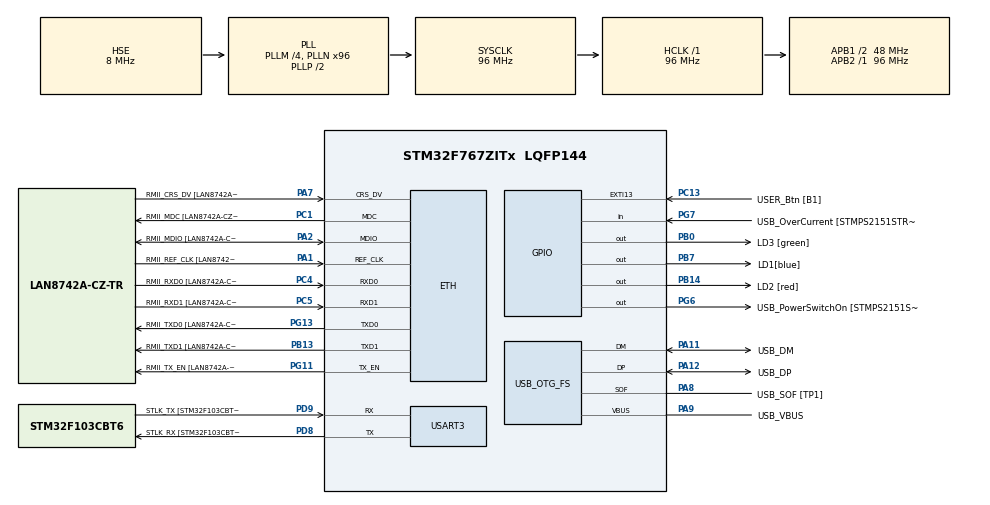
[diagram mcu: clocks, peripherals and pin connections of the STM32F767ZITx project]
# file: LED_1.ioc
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ETH.MediaInterface=ETH_MEDIA_INTERFACE_RMII
ETH.PHY_Name=LAN8742A_PHY_ADDRESS
ETH.PHY_Value=0
ETH.PhyAddress=0
LWIP.LWIP_HTTPD=1
LWIP.LWIP_HTTPD_CGI=1
LWIP.LWIP_HTTPD_MAX_TAG_NAME_LEN=16
LWIP.Version=v2.1.2_Cube
Mcu.Family=STM32F7
Mcu.Name=STM32F767ZITx
Mcu.Package=LQFP144
NVIC.PriorityGroup=NVIC_PRIORITYGROUP_4
PA1.GPIO_Label=RMII_REF_CLK [LAN8742A-CZ-TR_REFCLK0]
PA1.Mode=RMII
PA1.Signal=ETH_REF_CLK
PA10.GPIO_Label=USB_ID
PA10.Signal=USB_OTG_FS_ID
PA11.GPIO_Label=USB_DM
PA11.Mode=Device_Only
PA11.Signal=USB_OTG_FS_DM
PA12.GPIO_Label=USB_DP
PA12.Mode=Device_Only
PA12.Signal=USB_OTG_FS_DP
PA13.GPIO_Label=TMS
PA13.Mode=Serial_Wire
PA13.Signal=SYS_JTMS-SWDIO
PA14.GPIO_Label=TCK
PA14.Mode=Serial_Wire
PA14.Signal=SYS_JTCK-SWCLK
PA2.GPIO_Label=RMII_MDIO [LAN8742A-CZ-TR_MDIO]
PA2.Mode=RMII
PA2.Signal=ETH_MDIO
PA7.GPIO_Label=RMII_CRS_DV [LAN8742A-CZ-TR_CRS_DV]
PA7.Mode=RMII
PA7.Signal=ETH_CRS_DV
PA8.GPIO_Label=USB_SOF [TP1]
PA8.Mode=Activate_SOF_FS
PA8.Signal=USB_OTG_FS_SOF
PA9.GPIO_Label=USB_VBUS
PA9.Mode=Activate_VBUS
PA9.Signal=USB_OTG_FS_VBUS
PB0.GPIO_Label=LD3 [green]
PB0.GPIO_PuPd=GPIO_PULLUP
PB0.Signal=GPIO_Output
PB13.GPIO_Label=RMII_TXD1 [LAN8742A-CZ-TR_TXD1]
PB13.Mode=RMII
PB13.Signal=ETH_TXD1
PB14.GPIO_Label=LD2 [red]
PB14.GPIO_PuPd=GPIO_PULLUP
PB14.Signal=GPIO_Output
PB3.GPIO_Label=SWO
PB3.Signal=SYS_JTDO-SWO
PB7.GPIO_Label=LD1[blue]
PB7.GPIO_PuPd=GPIO_PULLUP
PB7.Signal=GPIO_Output
PC1.GPIO_Label=RMII_MDC [LAN8742A-CZ-TR_MDC]
PC1.Mode=RMII
PC1.Signal=ETH_MDC
PC13.GPIO_Label=USER_Btn [B1]
PC13.Signal=GPXTI13
PC14/OSC32_IN.Signal=RCC_OSC32_IN
PC15/OSC32_OUT.Signal=RCC_OSC32_OUT
PC4.GPIO_Label=RMII_RXD0 [LAN8742A-CZ-TR_RXD0]
PC4.Mode=RMII
PC4.Signal=ETH_RXD0
PC5.GPIO_Label=RMII_RXD1 [LAN8742A-CZ-TR_RXD1]
PC5.Mode=RMII
PC5.Signal=ETH_RXD1
PD8.GPIO_Label=STLK_RX [STM32F103CBT6_PA3]
PD8.Mode=Asynchronous
PD8.Signal=USART3_TX
PD9.GPIO_Label=STLK_TX [STM32F103CBT6_PA2]
PD9.Mode=Asynchronous
PD9.Signal=USART3_RX
PG11.GPIO_Label=RMII_TX_EN [LAN8742A-CZ-TR_TXEN]
PG11.Mode=RMII
PG11.Signal=ETH_TX_EN
PG13.GPIO_Label=RMII_TXD0 [LAN8742A-CZ-TR_TXD0]
PG13.Mode=RMII
PG13.Signal=ETH_TXD0
PG6.GPIO_Label=USB_PowerSwitchOn [STMPS2151STR_EN]
PG6.Signal=GPIO_Output
PG7.GPIO_Label=USB_OverCurrent [STMPS2151STR_FAULT]
PG7.Signal=GPIO_Input
PH0/OSC_IN.GPIO_Label=MCO [STM32F103CBT6_PA8]
PH0/OSC_IN.Mode=HSE-External-Oscillator
PH0/OSC_IN.Signal=RCC_OSC_IN
PH1/OSC_OUT.Mode=HSE-External-Oscillator
PH1/OSC_OUT.Signal=RCC_OSC_OUT
ProjectManager.HeapSize=0x200
ProjectManager.StackSize=0x400
ProjectManager.TargetToolchain=STM32CubeIDE
RCC.48MHZClocksFreq_Value=24000000
RCC.AHBFreq_Value=96000000
RCC.APB1CLKDivider=RCC_HCLK_DIV2
RCC.APB1Freq_Value=48000000
RCC.APB1TimFreq_Value=96000000
RCC.APB2Freq_Value=96000000
RCC.APB2TimFreq_Value=96000000
RCC.CortexFreq_Value=96000000
RCC.HCLKFreq_Value=96000000
RCC.HSE_VALUE=8000000
RCC.HSI_VALUE=16000000
RCC.PLLM=4
RCC.PLLMUL=RCC_PLL_MUL9
RCC.PLLN=96
RCC.PLLQ=4
RCC.PRESCALERUSB=RCC_USBCLKSOURCE_PLL_DIV1_5
RCC.SYSCLKFreq_VALUE=96000000
RCC.SYSCLKSource=RCC_SYSCLKSOURCE_PLLCLK
RCC.SYSCLKSourceVirtual=RCC_SYSCLKSOURCE_PLLCLK
RCC.USBFreq_Value=48000000
RCC.VCOOutputFreq_Value=192000000
USART3.VirtualMode-Asynchronous=VM_ASYNC
USB_OTG_FS.VirtualMode=Device_Only
VP_LWIP_VS_Enabled.Mode=Enabled
board=NUCLEO-F767ZI

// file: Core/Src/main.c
/* USER CODE BEGIN Header */
/**
  ******************************************************************************
  * @file           : main.c
  * @brief          : Main program body
  ******************************************************************************
  * @attention
  *
  * <h2><center>&copy; Copyright (c) 2020 STMicroelectronics.
  * All rights reserved.</center></h2>
  *
  * This software component is licensed by ST under BSD 3-Clause license,
  * the "License"; You may not use this file except in compliance with the
  * License. You may obtain a copy of the License at:
  *                        opensource.org/licenses/BSD-3-Clause
  *
  ******************************************************************************
  */
/* USER CODE END Header */

#include "main.h"
#include "lwip.h"

/* USER CODE BEGIN Includes */

//including httpd.h [-HTTPd #1 -]
#include "lwip/apps/httpd.h"

//include String.h for strcmp() function[=CGI '1=]
#include <String.h>
/* USER CODE END Includes */

UART_HandleTypeDef huart3;

PCD_HandleTypeDef hpcd_USB_OTG_FS;

/* USER CODE BEGIN PV */

//declaring the function for the compiler [=CGI #2=]
const char* LedCGIhandler(int iIndex, int iNumParams, char *pcParam[], char *pcValue[]);

//in our html file <form method="get" action="/leds.cgi"> [=CGI #3=]
const tCGI LedCGI = { "/leds.cgi", LedCGIhandler };

//[= CGI #4 =]
tCGI theCGItable[1];

/* USER CODE END PV */

void SystemClock_Config(void);
static void MX_GPIO_Init(void);
static void MX_USART3_UART_Init(void);
static void MX_USB_OTG_FS_PCD_Init(void);

/* USER CODE BEGIN 0 */

//the actual function for handling CGI [= CGI #5 =]
const char* LedCGIhandler(int iIndex, int iNumParams, char *pcParam[], char *pcValue[]) {
	uint32_t i= 0;

	if (iIndex==0){

		//turning the LED light off
		HAL_GPIO_WritePin(GPIOB, LD1_Pin, GPIO_PIN_RESET);

		HAL_GPIO_WritePin(GPIOB, LD2_Pin, GPIO_PIN_RESET);

		HAL_GPIO_WritePin(GPIOB, LD3_Pin, GPIO_PIN_RESET);

	}
	for(i=0; i<iNumParams; i++){

		if(strcmp(pcParam[i],"led")==0){

			if (strcmp(pcValue[i], "1") == 0) {
				HAL_GPIO_WritePin(GPIOB, LD1_Pin, GPIO_PIN_SET);

			}
			if (strcmp(pcValue[i], "2") == 0) {
				HAL_GPIO_WritePin(GPIOB, LD2_Pin, GPIO_PIN_SET);

			}
			if (strcmp(pcValue[i], "3") == 0) {
				HAL_GPIO_WritePin(GPIOB, LD3_Pin, GPIO_PIN_SET);

			}

		}
	}

	//the extension .shtml for SSI to work

return "/index.shtml";
}// END [= CGI #5 =]

//function to initialize CGI [= CGI #6 =]

void myCGIinit(void){
	//add LED control CGI to the table
	 theCGItable[0] = LedCGI;
	//give the table to the HTTP server
	 http_set_cgi_handlers(theCGItable, 1);
} // END [= CGI #6 =]

/* USER CODE END 0 */

int main(void)
{

  /* MCU Configuration--------------------------------------------------------*/

  /* Reset of all peripherals, Initializes the Flash interface and the Systick. */
  HAL_Init();

  /* Configure the system clock */
  SystemClock_Config();

  /* Initialize all configured peripherals */
  MX_GPIO_Init();
  MX_USART3_UART_Init();
  MX_USB_OTG_FS_PCD_Init();
  MX_LWIP_Init();
  //initializing the HTTPd [-HTTPd #2-]
    httpd_init();
    // initializing CGI  [= CGI #7 =]
    myCGIinit();

  /* Infinite loop */
  /* USER CODE BEGIN WHILE */
  while (1)
  {

	//starting the LWIP process
	  MX_LWIP_Process();
    /* USER CODE END WHILE */

  }
}

void SystemClock_Config(void)
{
  RCC_OscInitTypeDef RCC_OscInitStruct = {0};
  RCC_ClkInitTypeDef RCC_ClkInitStruct = {0};
  RCC_PeriphCLKInitTypeDef PeriphClkInitStruct = {0};

  /** Configure the main internal regulator output voltage
  */
  __HAL_RCC_PWR_CLK_ENABLE();
  __HAL_PWR_VOLTAGESCALING_CONFIG(PWR_REGULATOR_VOLTAGE_SCALE3);
  /** Initializes the CPU, AHB and APB busses clocks
  */
  RCC_OscInitStruct.OscillatorType = RCC_OSCILLATORTYPE_HSE;
  RCC_OscInitStruct.HSEState = RCC_HSE_ON;
  RCC_OscInitStruct.PLL.PLLState = RCC_PLL_ON;
  RCC_OscInitStruct.PLL.PLLSource = RCC_PLLSOURCE_HSE;
  RCC_OscInitStruct.PLL.PLLM = 4;
  RCC_OscInitStruct.PLL.PLLN = 96;
  RCC_OscInitStruct.PLL.PLLP = RCC_PLLP_DIV2;
  RCC_OscInitStruct.PLL.PLLQ = 4;
  if (HAL_RCC_OscConfig(&RCC_OscInitStruct) != HAL_OK)
  {
    Error_Handler();
  }
  /** Activate the Over-Drive mode
  */
  if (HAL_PWREx_EnableOverDrive() != HAL_OK)
  {
    Error_Handler();
  }
  /** Initializes the CPU, AHB and APB busses clocks
  */
  RCC_ClkInitStruct.ClockType = RCC_CLOCKTYPE_HCLK|RCC_CLOCKTYPE_SYSCLK
                              |RCC_CLOCKTYPE_PCLK1|RCC_CLOCKTYPE_PCLK2;
  RCC_ClkInitStruct.SYSCLKSource = RCC_SYSCLKSOURCE_PLLCLK;
  RCC_ClkInitStruct.AHBCLKDivider = RCC_SYSCLK_DIV1;
  RCC_ClkInitStruct.APB1CLKDivider = RCC_HCLK_DIV2;
  RCC_ClkInitStruct.APB2CLKDivider = RCC_HCLK_DIV1;

  if (HAL_RCC_ClockConfig(&RCC_ClkInitStruct, FLASH_LATENCY_3) != HAL_OK)
  {
    Error_Handler();
  }
  PeriphClkInitStruct.PeriphClockSelection = RCC_PERIPHCLK_USART3|RCC_PERIPHCLK_CLK48;
  PeriphClkInitStruct.Usart3ClockSelection = RCC_USART3CLKSOURCE_PCLK1;
  PeriphClkInitStruct.Clk48ClockSelection = RCC_CLK48SOURCE_PLL;
  if (HAL_RCCEx_PeriphCLKConfig(&PeriphClkInitStruct) != HAL_OK)
  {
    Error_Handler();
  }
}

static void MX_USART3_UART_Init(void)
{

  huart3.Instance = USART3;
  huart3.Init.BaudRate = 115200;
  huart3.Init.WordLength = UART_WORDLENGTH_8B;
  huart3.Init.StopBits = UART_STOPBITS_1;
  huart3.Init.Parity = UART_PARITY_NONE;
  huart3.Init.Mode = UART_MODE_TX_RX;
  huart3.Init.HwFlowCtl = UART_HWCONTROL_NONE;
  huart3.Init.OverSampling = UART_OVERSAMPLING_16;
  huart3.Init.OneBitSampling = UART_ONE_BIT_SAMPLE_DISABLE;
  huart3.AdvancedInit.AdvFeatureInit = UART_ADVFEATURE_NO_INIT;
  if (HAL_UART_Init(&huart3) != HAL_OK)
  {
    Error_Handler();
  }

}

static void MX_USB_OTG_FS_PCD_Init(void)
{

  hpcd_USB_OTG_FS.Instance = USB_OTG_FS;
  hpcd_USB_OTG_FS.Init.dev_endpoints = 6;
  hpcd_USB_OTG_FS.Init.speed = PCD_SPEED_FULL;
  hpcd_USB_OTG_FS.Init.dma_enable = DISABLE;
  hpcd_USB_OTG_FS.Init.phy_itface = PCD_PHY_EMBEDDED;
  hpcd_USB_OTG_FS.Init.Sof_enable = ENABLE;
  hpcd_USB_OTG_FS.Init.low_power_enable = DISABLE;
  hpcd_USB_OTG_FS.Init.lpm_enable = DISABLE;
  hpcd_USB_OTG_FS.Init.vbus_sensing_enable = ENABLE;
  hpcd_USB_OTG_FS.Init.use_dedicated_ep1 = DISABLE;
  if (HAL_PCD_Init(&hpcd_USB_OTG_FS) != HAL_OK)
  {
    Error_Handler();
  }

}

static void MX_GPIO_Init(void)
{
  GPIO_InitTypeDef GPIO_InitStruct = {0};

  /* GPIO Ports Clock Enable */
  __HAL_RCC_GPIOC_CLK_ENABLE();
  __HAL_RCC_GPIOH_CLK_ENABLE();
  __HAL_RCC_GPIOA_CLK_ENABLE();
  __HAL_RCC_GPIOB_CLK_ENABLE();
  __HAL_RCC_GPIOD_CLK_ENABLE();
  __HAL_RCC_GPIOG_CLK_ENABLE();

  /*Configure GPIO pin Output Level */
  HAL_GPIO_WritePin(GPIOB, LD3_Pin|LD2_Pin|LD1_Pin, GPIO_PIN_RESET);

  /*Configure GPIO pin Output Level */
  HAL_GPIO_WritePin(USB_PowerSwitchOn_GPIO_Port, USB_PowerSwitchOn_Pin, GPIO_PIN_RESET);

  /*Configure GPIO pin : USER_Btn_Pin */
  GPIO_InitStruct.Pin = USER_Btn_Pin;
  GPIO_InitStruct.Mode = GPIO_MODE_IT_RISING;
  GPIO_InitStruct.Pull = GPIO_NOPULL;
  HAL_GPIO_Init(USER_Btn_GPIO_Port, &GPIO_InitStruct);

  /*Configure GPIO pins : LD3_Pin LD2_Pin LD1_Pin */
  GPIO_InitStruct.Pin = LD3_Pin|LD2_Pin|LD1_Pin;
  GPIO_InitStruct.Mode = GPIO_MODE_OUTPUT_PP;
  GPIO_InitStruct.Pull = GPIO_PULLUP;
  GPIO_InitStruct.Speed = GPIO_SPEED_FREQ_LOW;
  HAL_GPIO_Init(GPIOB, &GPIO_InitStruct);

  /*Configure GPIO pin : USB_PowerSwitchOn_Pin */
  GPIO_InitStruct.Pin = USB_PowerSwitchOn_Pin;
  GPIO_InitStruct.Mode = GPIO_MODE_OUTPUT_PP;
  GPIO_InitStruct.Pull = GPIO_NOPULL;
  GPIO_InitStruct.Speed = GPIO_SPEED_FREQ_LOW;
  HAL_GPIO_Init(USB_PowerSwitchOn_GPIO_Port, &GPIO_InitStruct);

  /*Configure GPIO pin : USB_OverCurrent_Pin */
  GPIO_InitStruct.Pin = USB_OverCurrent_Pin;
  GPIO_InitStruct.Mode = GPIO_MODE_INPUT;
  GPIO_InitStruct.Pull = GPIO_NOPULL;
  HAL_GPIO_Init(USB_OverCurrent_GPIO_Port, &GPIO_InitStruct);

}

void Error_Handler(void)
{
}

/************************ (C) COPYRIGHT STMicroelectronics *****END OF FILE****/
